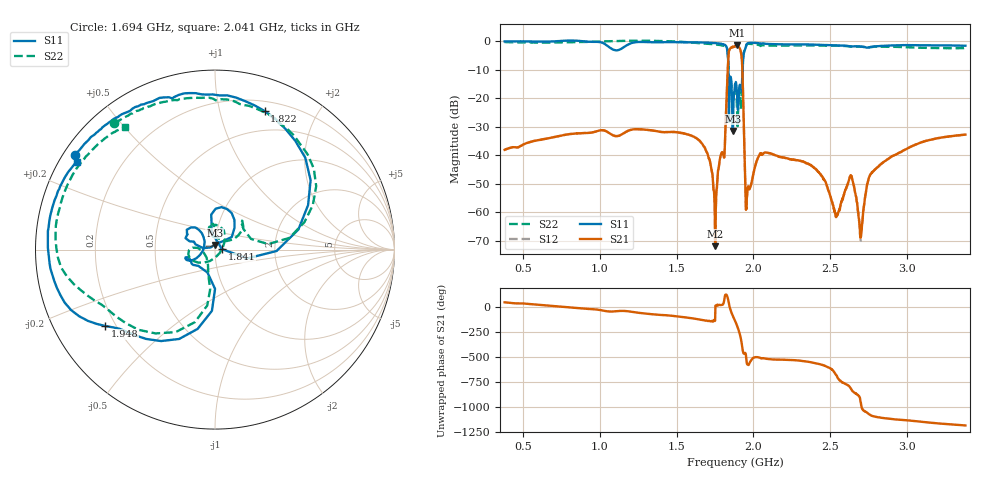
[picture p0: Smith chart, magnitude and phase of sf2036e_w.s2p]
# Hz S RI R 50
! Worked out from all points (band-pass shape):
!   1601 points, 380 MHz to 3.38 GHz, reference 50 ohm
!   highest |S21| = -1.45 dB at 1.891 GHz (marker M1); lowest = -71.8 dB at 1.751 GHz (marker M2)
!   |S21| within 3 dB of the highest: 1.839 GHz to 1.92 GHz (81.74 MHz wide, 4.35 % of centre)
!   lowest |S11| = -31.5 dB at 1.865 GHz (marker M3), VSWR 1.05, Z = 49.8 + j2.64 ohm
!   |S11| at or under -10 dB: 1.837 GHz to 1.93 GHz (93.17 MHz wide, 4.95 % of centre)
!   |S22| runs from -29.8 to 0.2 dB; largest |S21 - S12| = 0.0024
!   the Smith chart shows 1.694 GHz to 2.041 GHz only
!   S11 on the Smith chart (normalised r, x): 1.694 GHz: 0.03, +0.30; 1.822 GHz: 0.29, +1.38; 1.841 GHz: 1.08, +0.01; 1.948 GHz: 0.16, -0.31; 2.041 GHz: 0.05, +0.29
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3.8e8  0.6898 -0.7072  0.00915 0.00849  0.00916 0.00853  0.6627 -0.6974
8.80625e8  -0.2787 -0.9593  0.0231 -0.00766  0.0231 -0.00771  -0.3155 -0.9092
1.38125e9  -0.9079 -0.2951  0.00358 -0.0259  0.00354 -0.0259  -1.001 -0.0809
1.694375e9  -0.7806 0.5256  -0.00885 -0.00744  -0.00886 -0.00738  -0.5617 0.7036
1.750625e9  -0.5927 0.7074  -0.000196 -0.000166  -0.000205 -0.00018  -0.3344 0.811
1.821875e9  0.2762 0.7722  -0.0298 0.0505  -0.0298 0.0506  0.3989 0.6762
1.840625e9  0.0387 0.00279  0.5989 0.3066  0.5993 0.306  0.2008 0.0592
1.865e9  -0.00166 0.0265  -0.00684 -0.7979  -0.00716 -0.7975  0.0141 0.0637
1.88e9  -0.1642 0.0638  -0.6219 -0.5104  -0.6217 -0.5101  -0.0327 0.1336
1.89125e9  -0.0886 0.1092  -0.8458 0.0381  -0.845 0.0373  0.0549 0.072
1.904375e9  -0.1025 -0.0473  -0.4071 0.6864  -0.4068 0.6867  -0.094 -0.0725
1.919375e9  -0.1345 -0.0642  0.5336 0.3199  0.5344 0.3196  -0.0471 -0.0437
1.9475e9  -0.6129 -0.4254  -0.000842 -0.00306  -0.000829 -0.00304  -0.7084 -0.2574
1.964375e9  -0.9066 -0.1398  -0.00203 0.00187  -0.00205 0.00187  -0.8867 0.1336
2.04125e9  -0.7674 0.4908  -0.00907 -0.00516  -0.00905 -0.00513  -0.5011 0.6811
2.380625e9  -0.0727 0.8674  -0.00618 0.00209  -0.00616 0.00204  0.2715 0.7937
2.541875e9  0.2276 0.8103  0.000758 0.000449  0.000703 0.000481  0.5146 0.648
2.6375e9  0.3489 0.7289  -0.00133 -0.0041  -0.00128 -0.00407  0.6073 0.5233
2.6975e9  0.4225 0.684  -0.000219 0.000288  -0.00022 0.000247  0.6588 0.4513
2.755625e9  0.4479 0.6394  0.00431 0.00011  0.00432 4.86e-05  0.673 0.3914
2.88125e9  0.6345 0.5416  0.00667 -0.00569  0.00664 -0.00568  0.7645 0.2128
3.38e9  0.7885 -0.2575  -0.00718 -0.0219  -0.00716 -0.022  0.5705 -0.4909
